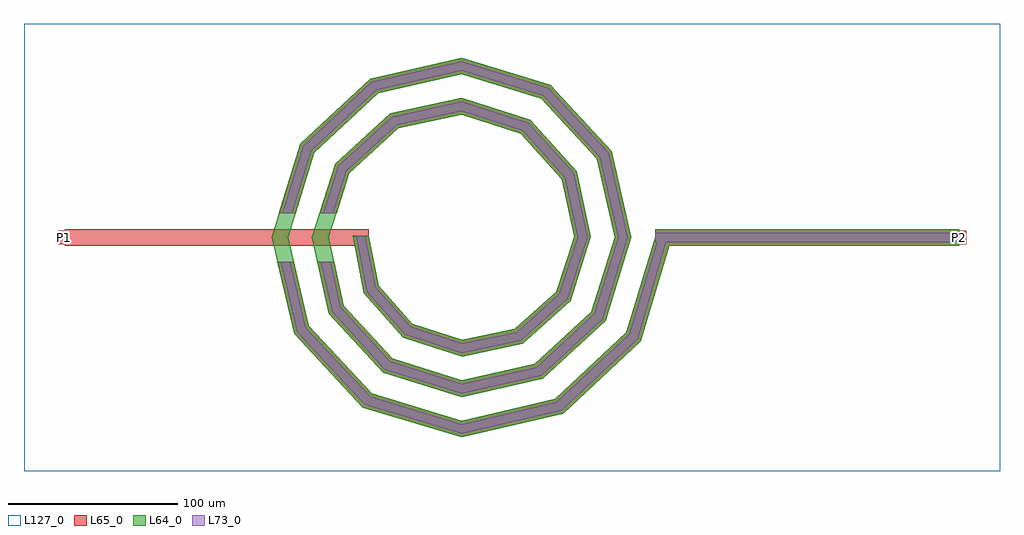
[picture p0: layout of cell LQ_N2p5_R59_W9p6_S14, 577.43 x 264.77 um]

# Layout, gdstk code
import gdstk
lib = gdstk.Library(unit=1e-6, precision=1e-09)
def R(c, l, rs):  # rectangles x0, y0, x1, y1
    for r in rs: c.add(gdstk.rectangle(r[:2], r[2:], *l))
def P(c, l, *ps):  # polygons
    for p in ps: c.add(gdstk.Polygon(p, *l))
L64_0 = (64, 0)
L65_0 = (65, 0)
L73_0 = (73, 0)
L127_0 = (127, 0)

lq_n2p5_r59_w9p6_s14 = lib.new_cell('LQ_N2p5_R59_W9p6_S14')
R(lq_n2p5_r59_w9p6_s14, L64_0, [(114.556,-4.8,294.556,4.8)])
P(lq_n2p5_r59_w9p6_s14, L64_0, [(-48.959,-28.612),(-29.097,-50.976),(0.281,-60.683),(31.572,-54.139),(56.131,-32.101),(66.65,0.257),(59.318,34.536),(35.103,61.288),(0.238,72.617),(-37.504,64.495),(-66.446,38.102),(-78.584,0.221),(-69.671,-40.473),(-41.099,-71.606),(0.206,-84.551),(43.445,-74.846),(76.768,-44.094),(90.519,0.193),(80.02,46.418),(47.088,81.93),(0.182,96.486),(-49.392,85.193),(-87.092,50.081),(-102.454,0.172),(-90.366,-52.367),(-53.073,-92.256),(0.163,-108.421),(55.344,-95.538),(97.42,-56.064),(114.761,1.387),(123.951,-1.387),(105.866,-61.303),(60.034,-104.301),(0.163,-118.355),(-58.326,-100.693),(-99.137,-57.042),(-112.387,0.172),(-95.52,55.35),(-54.05,93.974),(0.182,106.419),(52.375,90.346),(88.811,51.056),(100.451,0.193),(85.172,-49.402),(48.062,-83.648),(0.206,-94.483),(-46.429,-79.996),(-78.486,-45.065),(-88.514,0.221),(-74.82,43.458),(-42.067,73.326),(0.238,82.546),(40.489,69.642),(68.166,39.067),(76.577,0.257),(64.462,-37.523),(36.063,-63.008),(0.281,-70.608),(-34.56,-59.281),(-57.852,-33.056),(-64.382,0.957),(-54.974,0.957)])
R(lq_n2p5_r59_w9p6_s14, L65_0, [(-234.878,-4.8,-54.878,4.8), (114.556,-4.8,294.556,4.8), (-238.878,-4,-230.878,4), (290.556,-4,298.556,4)])
P(lq_n2p5_r59_w9p6_s14, L65_0, [(-90.366,-52.367),(-53.073,-92.256),(0.163,-108.421),(55.344,-95.538),(97.42,-56.064),(114.761,1.387),(123.951,-1.387),(105.866,-61.303),(60.034,-104.302),(0.163,-118.355),(-58.326,-100.693),(-99.137,-57.042),(-109.013,-14.4),(-99.159,-14.4)],
  [(-69.671,-40.473),(-41.099,-71.606),(0.206,-84.551),(43.445,-74.846),(76.768,-44.094),(90.519,0.193),(80.02,46.418),(47.088,81.93),(0.182,96.486),(-49.392,85.193),(-87.092,50.081),(-97.999,14.4),(-108.038,14.4),(-95.52,55.35),(-54.05,93.974),(0.182,106.419),(52.375,90.346),(88.811,51.056),(100.451,0.193),(85.172,-49.402),(48.062,-83.648),(0.206,-94.483),(-46.429,-79.996),(-78.486,-45.065),(-85.277,-14.4),(-75.444,-14.4)],
  [(-29.097,-50.976),(0.281,-60.683),(31.572,-54.14),(56.131,-32.101),(66.65,0.257),(59.318,34.536),(35.103,61.288),(0.238,72.617),(-37.504,64.495),(-66.446,38.102),(-73.953,14.4),(-84.023,14.4),(-74.82,43.458),(-42.067,73.326),(0.238,82.546),(40.489,69.642),(68.166,39.067),(76.577,0.257),(64.463,-37.523),(36.063,-63.008),(0.281,-70.608),(-34.56,-59.281),(-57.852,-33.056),(-64.382,0.957),(-54.974,0.957),(-48.959,-28.612)])
R(lq_n2p5_r59_w9p6_s14, L73_0, [(114.556,-2.8,294.556,2.8)])
P(lq_n2p5_r59_w9p6_s14, L73_0, [(-92.193,-53.341),(-54.167,-94.014),(0.095,-110.491),(56.321,-97.364),(99.179,-57.155),(116.676,0.809),(122.037,0.809),(104.106,-60.212),(59.057,-102.476),(0.095,-116.286),(-57.232,-98.935),(-97.31,-56.068),(-106.96,-14.4),(-101.212,-14.4)],
  [(-71.507,-41.43),(-42.209,-73.354),(0.12,-86.62),(44.407,-76.679),(78.518,-45.2),(92.588,0.113),(81.851,47.384),(48.19,83.683),(0.106,98.556),(-50.362,87.022),(-88.848,51.179),(-100.091,14.4),(-105.947,14.4),(-93.764,54.253),(-53.08,92.144),(0.106,104.35),(51.274,88.593),(86.979,50.09),(98.382,0.113),(83.421,-48.296),(47.1,-81.814),(0.12,-92.414),(-45.319,-78.248),(-76.65,-44.109),(-83.228,-14.4),(-77.493,-14.4)],
  [(-30.235,-52.706),(0.164,-62.751),(32.508,-55.987),(57.866,-33.231),(68.718,0.15),(61.161,35.48),(36.225,63.028),(0.139,74.686),(-38.454,66.335),(-68.191,39.218),(-76.051,14.4),(-81.926,14.4),(-73.075,42.342),(-41.116,71.486),(0.139,80.477),(39.367,67.902),(66.323,38.123),(74.509,0.15),(62.727,-36.394),(35.128,-61.16),(0.164,-68.541),(-33.422,-57.551),(-55.999,-32.13),(-62.422,0.558),(-56.934,0.558),(-50.812,-29.537)])
R(lq_n2p5_r59_w9p6_s14, L127_0, [(-258.878,-138.355,318.556,126.419)])
lq_n2p5_r59_w9p6_s14.add(gdstk.Label('P2', (294.556,0), layer=65, texttype=0))
lq_n2p5_r59_w9p6_s14.add(gdstk.Label('P1', (-234.878,0), layer=65, texttype=0))
lq_n2p5_r59_w9p6_s14.add(gdstk.Label('P2', (298.556,0), layer=145, texttype=0))
lq_n2p5_r59_w9p6_s14.add(gdstk.Label('P1', (-238.878,0), layer=145, texttype=0))

lib.write_gds('LQ_N2p5_R59_W9p6_S14.gds')
